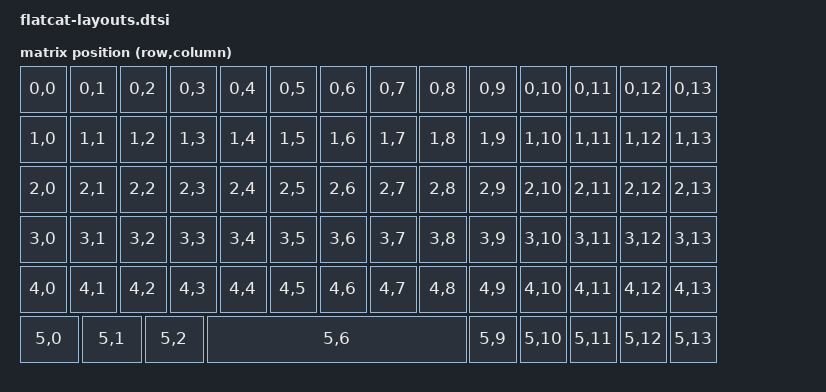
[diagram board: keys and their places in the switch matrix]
/*
 * FlatCat — matrix transform and physical layout.
 *
 * Shared by every part of the keyboard: the standalone `flatcat` shield, the
 * keyboard-as-peripheral shield and the dongle. ZMK requires all parts of a
 * split to have the SAME transform and layout with the SAME node names, so they
 * live in one file instead of being copied around.
 *
 * Includes <physical_layouts.dtsi>, which has no include guard: include this
 * file once per overlay and do not include <physical_layouts.dtsi> yourself.
 */

#include <dt-bindings/zmk/matrix_transform.h>
#include <physical_layouts.dtsi>

/ {
    default_transform: keymap_transform0 {
        compatible = "zmk,matrix-transform";
        columns = <14>;
        rows    = <6>;

        map = <
    RC(0,0) RC(0,1) RC(0,2) RC(0,3) RC(0,4) RC(0,5) RC(0,6) RC(0,7) RC(0,8) RC(0,9) RC(0,10) RC(0,11) RC(0,12) RC(0,13)
    RC(1,0) RC(1,1) RC(1,2) RC(1,3) RC(1,4) RC(1,5) RC(1,6) RC(1,7) RC(1,8) RC(1,9) RC(1,10) RC(1,11) RC(1,12) RC(1,13)
    RC(2,0) RC(2,1) RC(2,2) RC(2,3) RC(2,4) RC(2,5) RC(2,6) RC(2,7) RC(2,8) RC(2,9) RC(2,10) RC(2,11) RC(2,12) RC(2,13)
    RC(3,0) RC(3,1) RC(3,2) RC(3,3) RC(3,4) RC(3,5) RC(3,6) RC(3,7) RC(3,8) RC(3,9) RC(3,10) RC(3,11) RC(3,12) RC(3,13)
    RC(4,0) RC(4,1) RC(4,2) RC(4,3) RC(4,4) RC(4,5) RC(4,6) RC(4,7) RC(4,8) RC(4,9) RC(4,10) RC(4,11) RC(4,12) RC(4,13)
    RC(5,0) RC(5,1) RC(5,2)                 RC(5,6)                 RC(5,9) RC(5,10) RC(5,11) RC(5,12) RC(5,13)
        >;
    };

    physical_layout0: physical_layout_0 {
        compatible   = "zmk,physical-layout";
        display-name = "Default";
        transform    = <&default_transform>;

        keys  //                     w   h    x    y
            = <&key_physical_attrs  100  100     0     0    0    0    0>
            , <&key_physical_attrs  100  100   100     0    0    0    0>
            , <&key_physical_attrs  100  100   200     0    0    0    0>
            , <&key_physical_attrs  100  100   300     0    0    0    0>
            , <&key_physical_attrs  100  100   400     0    0    0    0>
            , <&key_physical_attrs  100  100   500     0    0    0    0>
            , <&key_physical_attrs  100  100   600     0    0    0    0>
            , <&key_physical_attrs  100  100   700     0    0    0    0>
            , <&key_physical_attrs  100  100   800     0    0    0    0>
            , <&key_physical_attrs  100  100   900     0    0    0    0>
            , <&key_physical_attrs  100  100  1000     0    0    0    0>
            , <&key_physical_attrs  100  100  1100     0    0    0    0>
            , <&key_physical_attrs  100  100  1200     0    0    0    0>
            , <&key_physical_attrs  100  100  1300     0    0    0    0>
            , <&key_physical_attrs  100  100     0   100    0    0    0>
            , <&key_physical_attrs  100  100   100   100    0    0    0>
            , <&key_physical_attrs  100  100   200   100    0    0    0>
            , <&key_physical_attrs  100  100   300   100    0    0    0>
            , <&key_physical_attrs  100  100   400   100    0    0    0>
            , <&key_physical_attrs  100  100   500   100    0    0    0>
            , <&key_physical_attrs  100  100   600   100    0    0    0>
            , <&key_physical_attrs  100  100   700   100    0    0    0>
            , <&key_physical_attrs  100  100   800   100    0    0    0>
            , <&key_physical_attrs  100  100   900   100    0    0    0>
            , <&key_physical_attrs  100  100  1000   100    0    0    0>
            , <&key_physical_attrs  100  100  1100   100    0    0    0>
            , <&key_physical_attrs  100  100  1200   100    0    0    0>
            , <&key_physical_attrs  100  100  1300   100    0    0    0>
            , <&key_physical_attrs  100  100     0   200    0    0    0>
            , <&key_physical_attrs  100  100   100   200    0    0    0>
            , <&key_physical_attrs  100  100   200   200    0    0    0>
            , <&key_physical_attrs  100  100   300   200    0    0    0>
            , <&key_physical_attrs  100  100   400   200    0    0    0>
            , <&key_physical_attrs  100  100   500   200    0    0    0>
            , <&key_physical_attrs  100  100   600   200    0    0    0>
            , <&key_physical_attrs  100  100   700   200    0    0    0>
            , <&key_physical_attrs  100  100   800   200    0    0    0>
            , <&key_physical_attrs  100  100   900   200    0    0    0>
            , <&key_physical_attrs  100  100  1000   200    0    0    0>
            , <&key_physical_attrs  100  100  1100   200    0    0    0>
            , <&key_physical_attrs  100  100  1200   200    0    0    0>
            , <&key_physical_attrs  100  100  1300   200    0    0    0>
            , <&key_physical_attrs  100  100     0   300    0    0    0>
            , <&key_physical_attrs  100  100   100   300    0    0    0>
            , <&key_physical_attrs  100  100   200   300    0    0    0>
            , <&key_physical_attrs  100  100   300   300    0    0    0>
            , <&key_physical_attrs  100  100   400   300    0    0    0>
            , <&key_physical_attrs  100  100   500   300    0    0    0>
            , <&key_physical_attrs  100  100   600   300    0    0    0>
            , <&key_physical_attrs  100  100   700   300    0    0    0>
            , <&key_physical_attrs  100  100   800   300    0    0    0>
            , <&key_physical_attrs  100  100   900   300    0    0    0>
            , <&key_physical_attrs  100  100  1000   300    0    0    0>
            , <&key_physical_attrs  100  100  1100   300    0    0    0>
            , <&key_physical_attrs  100  100  1200   300    0    0    0>
            , <&key_physical_attrs  100  100  1300   300    0    0    0>
            , <&key_physical_attrs  100  100     0   400    0    0    0>
            , <&key_physical_attrs  100  100   100   400    0    0    0>
            , <&key_physical_attrs  100  100   200   400    0    0    0>
            , <&key_physical_attrs  100  100   300   400    0    0    0>
            , <&key_physical_attrs  100  100   400   400    0    0    0>
            , <&key_physical_attrs  100  100   500   400    0    0    0>
            , <&key_physical_attrs  100  100   600   400    0    0    0>
            , <&key_physical_attrs  100  100   700   400    0    0    0>
            , <&key_physical_attrs  100  100   800   400    0    0    0>
            , <&key_physical_attrs  100  100   900   400    0    0    0>
            , <&key_physical_attrs  100  100  1000   400    0    0    0>
            , <&key_physical_attrs  100  100  1100   400    0    0    0>
            , <&key_physical_attrs  100  100  1200   400    0    0    0>
            , <&key_physical_attrs  100  100  1300   400    0    0    0>
            , <&key_physical_attrs  125  100     0   500    0    0    0>
            , <&key_physical_attrs  125  100   125   500    0    0    0>
            , <&key_physical_attrs  125  100   250   500    0    0    0>
            , <&key_physical_attrs  525  100   375   500    0    0    0>
            , <&key_physical_attrs  100  100   900   500    0    0    0>
            , <&key_physical_attrs  100  100  1000   500    0    0    0>
            , <&key_physical_attrs  100  100  1100   500    0    0    0>
            , <&key_physical_attrs  100  100  1200   500    0    0    0>
            , <&key_physical_attrs  100  100  1300   500    0    0    0>
            ;
    };
};
